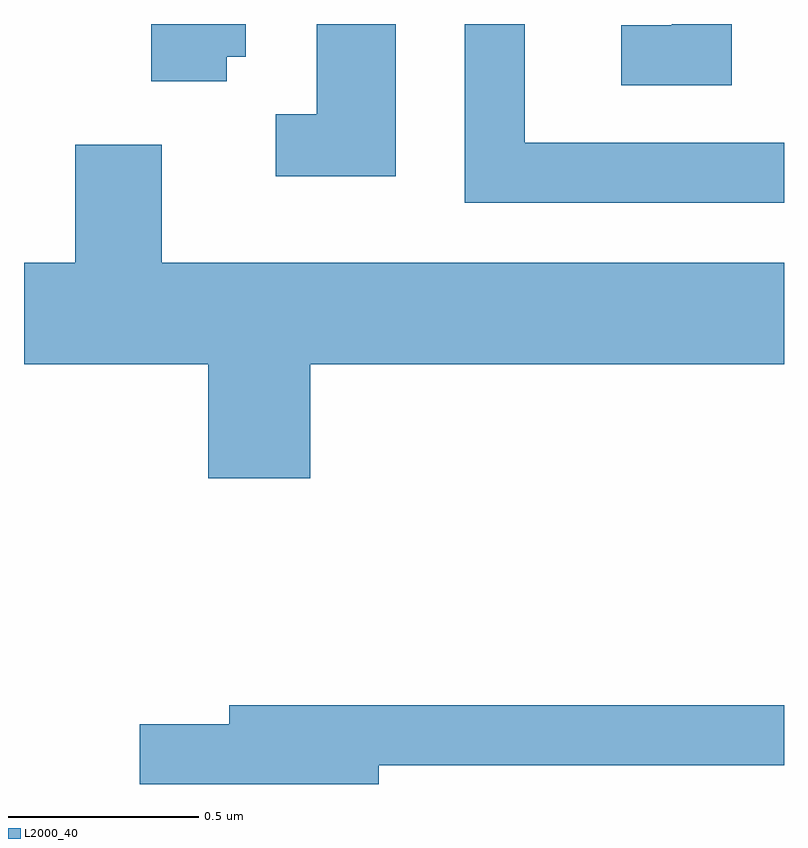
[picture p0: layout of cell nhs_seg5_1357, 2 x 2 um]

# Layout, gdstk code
import gdstk
lib = gdstk.Library(unit=1e-6, precision=1e-09)
def P(c, l, *ps):  # polygons
    for p in ps: c.add(gdstk.Polygon(p, *l))
L2000_40 = (2000, 40)

nhs_seg5_1357 = lib.new_cell('nhs_seg5_1357')
P(nhs_seg5_1357, L2000_40, [(196.611,1521.759),(195.929,1521.759),(195.929,1522.072),(195.771,1522.072),(195.771,1521.601),(196.611,1521.601)],
  [(196.474,1522.072),(196.316,1522.072),(196.316,1522.069),(196.183,1522.069),(196.183,1521.911),(196.474,1521.911)],
  [(195.589,1522.072),(195.381,1522.072),(195.381,1521.834),(195.273,1521.834),(195.273,1521.671),(195.589,1521.671)],
  [(195.144,1521.986),(195.194,1521.986),(195.194,1522.072),(194.946,1522.072),(194.946,1521.921),(195.144,1521.921)],
  [(195.364,1521.176),(196.611,1521.176),(196.611,1521.444),(194.974,1521.444),(194.974,1521.754),(194.746,1521.754),(194.746,1521.444),(194.611,1521.444),(194.611,1521.176),(195.096,1521.176),(195.096,1520.876),(195.364,1520.876)],
  [(195.544,1520.121),(196.611,1520.121),(196.611,1520.279),(195.151,1520.279),(195.151,1520.229),(194.916,1520.229),(194.916,1520.072),(195.544,1520.072)])

lib.write_gds('nhs_seg5_1357.gds')
